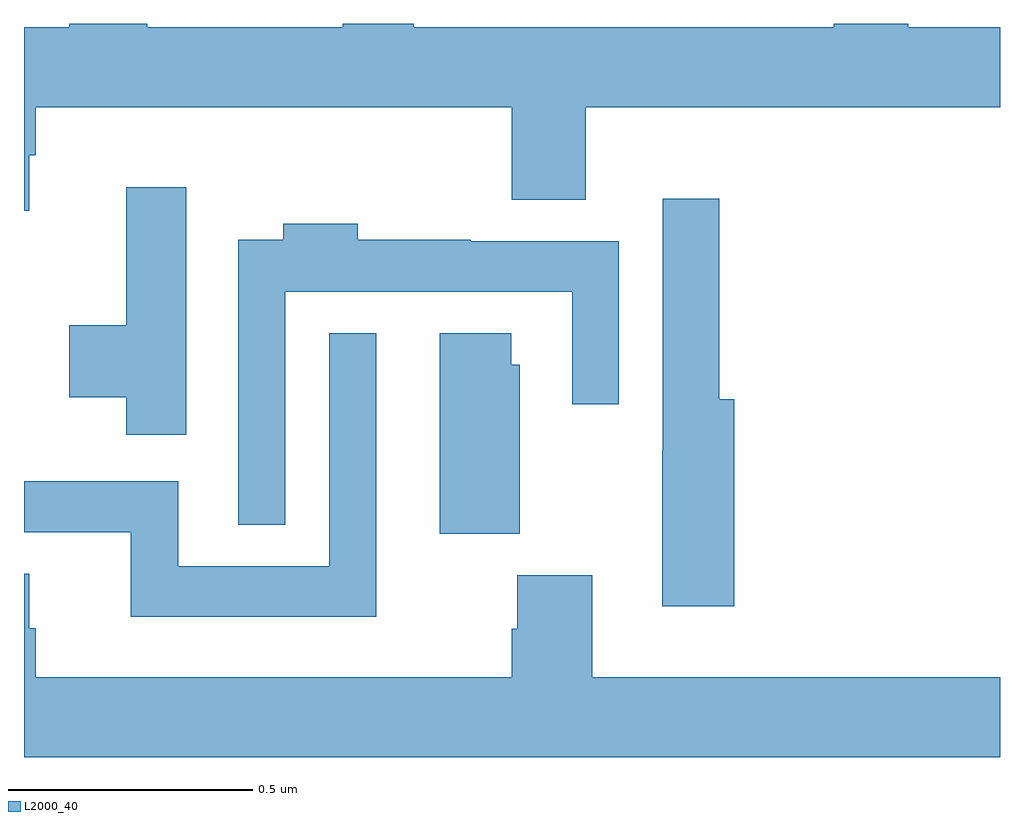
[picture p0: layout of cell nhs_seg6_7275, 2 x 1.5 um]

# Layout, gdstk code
import gdstk
lib = gdstk.Library(unit=1e-6, precision=1e-09)
def P(c, l, *ps):  # polygons
    for p in ps: c.add(gdstk.Polygon(p, *l))
L2000_40 = (2000, 40)

nhs_seg6_7275 = lib.new_cell('nhs_seg6_7275')
P(nhs_seg6_7275, L2000_40, [(206.011,955.23),(206.024,955.23),(206.024,955.328),(206.999,955.328),(206.999,955.139),(207.151,955.139),(207.151,955.328),(208,955.328),(208,955.492),(207.812,955.492),(207.812,955.5),(207.659,955.5),(207.659,955.492),(206.799,955.492),(206.799,955.5),(206.653,955.5),(206.653,955.492),(206.253,955.492),(206.253,955.5),(206.093,955.5),(206.093,955.492),(206,955.492),(206,955.116),(206.011,955.116)],
  [(206.332,955.165),(206.21,955.165),(206.21,954.882),(206.093,954.882),(206.093,954.734),(206.21,954.734),(206.21,954.657),(206.332,954.657)],
  [(207.455,954.73),(207.425,954.73),(207.425,955.141),(207.309,955.141),(207.309,954.626),(207.308,954.626),(207.308,954.306),(207.455,954.306)],
  [(206.535,954.95),(207.123,954.95),(207.123,954.72),(207.219,954.72),(207.219,955.054),(206.915,955.054),(206.915,955.057),(206.684,955.057),(206.684,955.09),(206.531,955.09),(206.531,955.057),(206.439,955.057),(206.439,954.473),(206.535,954.473)],
  [(207.016,954.801),(206.998,954.801),(206.998,954.865),(206.852,954.865),(206.852,954.454),(207.016,954.454)],
  [(206.722,954.865),(206.625,954.865),(206.625,954.388),(206.316,954.388),(206.316,954.562),(206,954.562),(206,954.458),(206.219,954.458),(206.219,954.284),(206.722,954.284)],
  [(208,954.16),(207.164,954.16),(207.164,954.369),(207.011,954.369),(207.011,954.26),(206.999,954.26),(206.999,954.16),(206.024,954.16),(206.024,954.261),(206.011,954.261),(206.011,954.373),(206,954.373),(206,953.996),(208,953.996)])

lib.write_gds('nhs_seg6_7275.gds')
